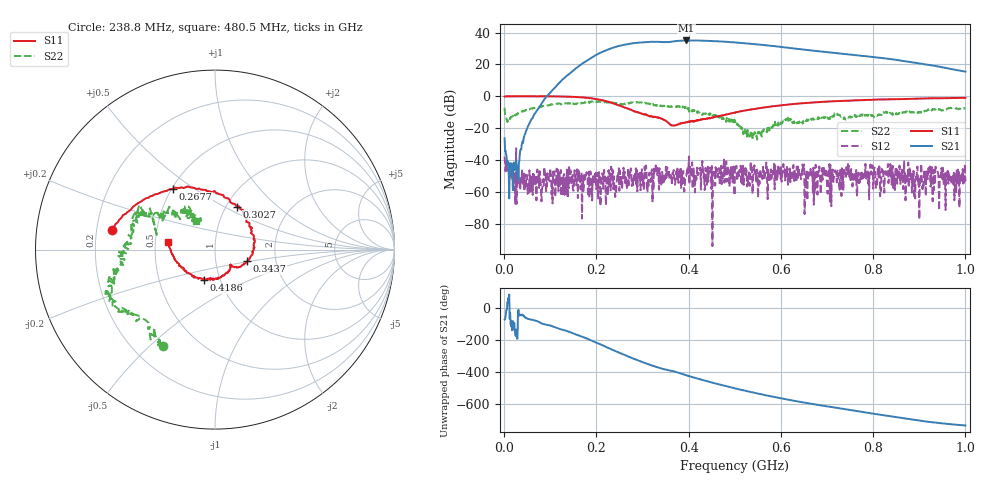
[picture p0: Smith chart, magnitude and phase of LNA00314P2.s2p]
! Created with skrf 1.9.0 (http://scikit-rf.org).
# Hz S RI R 50.0
!freq ReS11 ImS11 ReS21 ImS21 ReS12 ImS12 ReS22 ImS22
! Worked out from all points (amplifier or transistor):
!   1001 points, 1 MHz to 1 GHz, reference 50 ohm
!   highest |S21| = 35.1 dB at 394.6 MHz (marker M1)
!   |S21| within 3 dB of that: 255.8 MHz to 566.2 MHz (310.4 MHz wide, 75.5 % of centre)
!   unconditionally stable (mu >= 1): start of sweep to 71.92 MHz; 202.9 MHz to 232.4 MHz; 234.9 MHz to end of sweep (the widest 3 of 31)
!   at 166.8 MHz: K = 0.80, MSG = 34.0 dB, |S12| = -47.9 dB
!   at 500.5 MHz: K = 1.52, MAG = 34.3 dB, |S12| = -43.3 dB
!   at 1 GHz: K = 6.11, MAG = 23.7 dB, |S12| = -53.5 dB
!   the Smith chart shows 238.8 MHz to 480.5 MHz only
!   S11 on the Smith chart (normalised r, x): 238.8 MHz: 0.26, +0.09; 267.7 MHz: 0.51, +0.41; 302.7 MHz: 1.12, +0.58; 343.7 MHz: 1.42, -0.19; 418.6 MHz: 0.84, -0.30; 480.5 MHz: 0.58, +0.05
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1000000  0.9749 -0.000819  0.0145 -0.0451  -0.0122 0.00371  0.3098 0.3069
1.08892e8  0.5037 -0.8559  -0.8526 -1.585  -0.00418 -0.00133  0.4272 -0.3639
1.67833e8  -0.2601 -0.8883  -10.31 -0.4273  -0.00219 -0.00299  0.0337 -0.627
2.07793e8  -0.6755 -0.3878  -15.93 16.53  -0.00104 0.00141  -0.209 -0.6565
2.38762e8  -0.5753 0.1118  -2.054 34.64  -0.00162 -0.000523  -0.2916 -0.5344
2.67733e8  -0.2325 0.3374  23.16 36.8  0.0002 -0.00119  -0.4779 -0.3359
3.02698e8  0.1206 0.2401  46.98 15.97  0.000157 -0.0011  -0.5749 -0.2009
3.34666e8  0.2158 -0.00197  49.92 -11.88  -0.0034 0.00281  -0.5084 -0.0159
3.43657e8  0.1797 -0.0646  47.34 -18.07  0.000809 0.00174  -0.5041 0.013
3.72628e8  0.0875 -0.0892  41.46 -35.37  -0.00208 0.00211  -0.4393 0.1543
3.94606e8  0.0489 -0.143  27.83 -49.49  -0.00217 0.00214  -0.4141 0.1908
4.18582e8  -0.0598 -0.17  8.578 -55.42  0.00106 0.00567  -0.2216 0.2054
4.45555e8  -0.1763 -0.1112  -11.76 -53.43  0.00168 0.00466  -0.1668 0.1936
4.8052e8  -0.2616 0.0421  -32.21 -40.54  0.0028 0.00169  -0.1043 0.161
5.005e8  -0.2621 0.148  -39.46 -29.69  -0.00495 -0.00474  -0.1095 0.1377
5.4046e8  -0.1838 0.348  -42.96 -7.965  0.00379 -0.00282  -0.0416 0.044
5.84416e8  0.00712 0.4886  -36.34 10.81  -0.00106 -0.00343  -0.1188 -0.0179
6.25375e8  0.1972 0.5342  -24.93 20.3  0.00298 -0.00355  -0.1402 -0.0558
6.67333e8  0.3975 0.4963  -13.46 23.7  0.00241 -0.00221  -0.1826 -0.0175
7.55245e8  0.6832 0.281  3.742 19.76  -2.62e-05 -0.00146  -0.2358 0.0443
8.34166e8  0.8002 0.0195  10.84 10.32  -0.00116 -0.00235  -0.3029 0.0192
1e9  0.7323 -0.5151  5.77 -1.581  -0.00163 0.00135  -0.3241 0.2664
